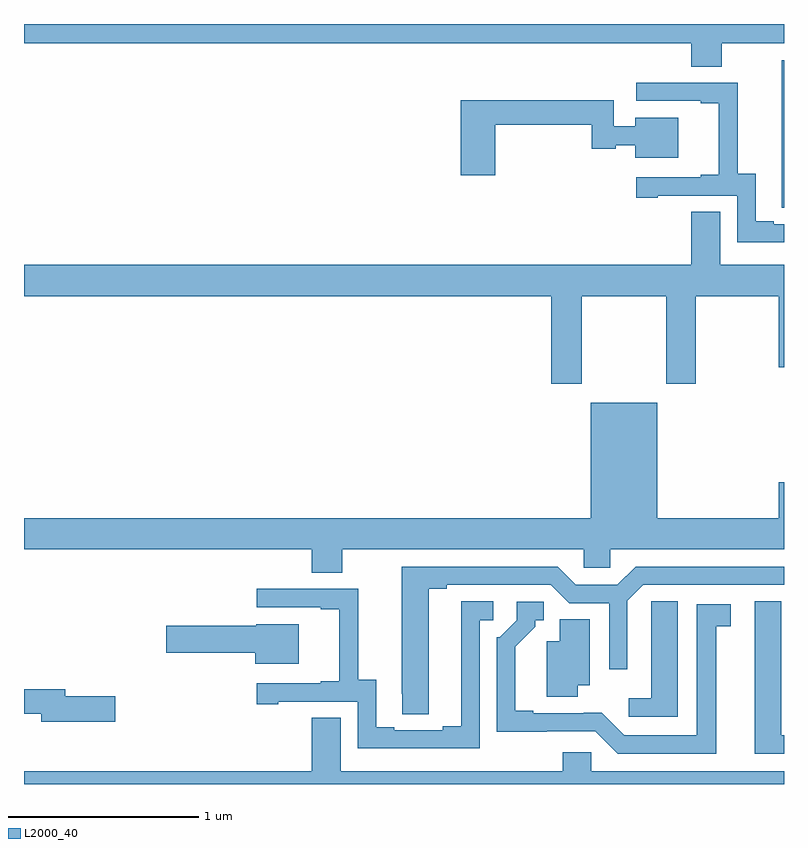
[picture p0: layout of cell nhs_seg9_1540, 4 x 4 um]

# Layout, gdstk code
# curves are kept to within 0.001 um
import gdstk
lib = gdstk.Library(unit=1e-6, precision=1e-09)
def P(c, l, *ps):  # polygons
    for p in ps: c.add(gdstk.Polygon(p, *l))
L2000_40 = (2000, 40)

nhs_seg9_1540 = lib.new_cell('nhs_seg9_1540')
P(nhs_seg9_1540, L2000_40, [(197,1216.4),(200.513,1216.4),(200.513,1216.276),(200.673,1216.276),(200.673,1216.4),(201,1216.4),(201,1216.5),(197,1216.5)],
  [(201,1216.308),(200.987,1216.308),(200.987,1215.64),(200.988,1215.64),(200.988,1215.532),(201,1215.532)],
  [(201,1215.447),(200.947,1215.447),(200.947,1215.462),(200.851,1215.462),(200.851,1215.713),(200.757,1215.713),(200.757,1216.191),(200.223,1216.191),(200.223,1216.095),(200.561,1216.095),(200.561,1216.083),(200.657,1216.083),(200.657,1215.706),(200.561,1215.706),(200.561,1215.693),(200.223,1215.693),(200.223,1215.585),(200.335,1215.585),(200.335,1215.597),(200.754,1215.597),(200.754,1215.351),(201,1215.351)],
  [(199.481,1215.97),(199.987,1215.97),(199.987,1215.844),(200.115,1215.844),(200.115,1215.863),(200.216,1215.863),(200.216,1215.797),(200.443,1215.797),(200.443,1216.006),(200.216,1216.006),(200.216,1215.961),(200.103,1215.961),(200.103,1216.099),(199.298,1216.099),(199.298,1215.705),(199.481,1215.705)],
  [(199.935,1215.068),(200.38,1215.068),(200.38,1214.607),(200.535,1214.607),(200.535,1215.068),(200.972,1215.068),(200.972,1214.694),(201,1214.694),(201,1215.232),(200.665,1215.232),(200.665,1215.512),(200.513,1215.512),(200.513,1215.232),(197,1215.232),(197,1215.068),(199.775,1215.068),(199.775,1214.607),(199.935,1214.607)],
  [(198.675,1213.736),(199.947,1213.736),(199.947,1213.638),(200.085,1213.638),(200.085,1213.736),(201,1213.736),(201,1214.089),(200.972,1214.089),(200.972,1213.9),(200.332,1213.9),(200.332,1214.506),(199.982,1214.506),(199.982,1213.9),(197,1213.9),(197,1213.736),(198.515,1213.736),(198.515,1213.612),(198.675,1213.612)],
  [(199.129,1213.528),(199.225,1213.528),(199.225,1213.548),(199.773,1213.548),(199.869,1213.452),(200.079,1213.452),(200.079,1213.104),(200.175,1213.104),(200.175,1213.464),(200.259,1213.548),(201,1213.548),(201,1213.644),(200.219,1213.644),(200.123,1213.548),(199.905,1213.548),(199.809,1213.644),(198.989,1213.644),(198.99,1212.868),(199.129,1212.868)],
  [(199.398,1213.362),(199.471,1213.362),(199.471,1213.463),(199.301,1213.463),(199.301,1212.803),(199.205,1212.803),(199.205,1212.783),(198.949,1212.783),(198.949,1212.798),(198.853,1212.798),(198.853,1213.049),(198.759,1213.049),(198.759,1213.527),(198.225,1213.527),(198.225,1213.431),(198.563,1213.431),(198.563,1213.419),(198.659,1213.419),(198.659,1213.042),(198.563,1213.042),(198.563,1213.029),(198.225,1213.029),(198.225,1212.921),(198.337,1212.921),(198.337,1212.933),(198.756,1212.933),(198.756,1212.687),(199.398,1212.687)],
  [(200.44,1213.463),(200.301,1213.463),(200.301,1213.355),(200.3,1213.355),(200.3,1212.952),(200.184,1212.952),(200.184,1212.855),(200.44,1212.855)],
  [(201,1212.756),(200.986,1212.756),(200.986,1213.462),(200.846,1213.462),(200.846,1212.66),(201,1212.66)],
  [(200.644,1213.33),(200.719,1213.33),(200.719,1213.446),(200.54,1213.446),(200.54,1212.756),(200.16,1212.756),(200.042,1212.874),(199.681,1212.873),(199.681,1212.886),(199.585,1212.886),(199.585,1213.222),(199.69,1213.327),(199.69,1213.362),(199.735,1213.362),(199.735,1213.458),(199.593,1213.458),(199.593,1213.362),(199.503,1213.272),(199.488,1213.272),(199.488,1212.776),(200.007,1212.777),(200.124,1212.66),(200.644,1212.66)],
  [(199.915,1213.019),(199.978,1213.019),(199.978,1213.367),(199.82,1213.367),(199.82,1213.252),(199.751,1213.252),(199.751,1212.958),(199.915,1212.958)],
  [(198.445,1213.342),(198.222,1213.342),(198.222,1213.332),(197.748,1213.332),(197.748,1213.19),(198.218,1213.19),(198.218,1213.133),(198.445,1213.133)],
  [(197.479,1212.962),(197.218,1212.962),(197.218,1212.998),(197,1212.998),(197,1212.87),(197.09,1212.87),(197.09,1212.827),(197.479,1212.827)],
  [(201,1212.568),(199.986,1212.568),(199.986,1212.666),(199.835,1212.666),(199.835,1212.568),(198.667,1212.568),(198.667,1212.848),(198.515,1212.848),(198.515,1212.568),(197,1212.568),(197,1212.5),(201,1212.5)])

lib.write_gds('nhs_seg9_1540.gds')
